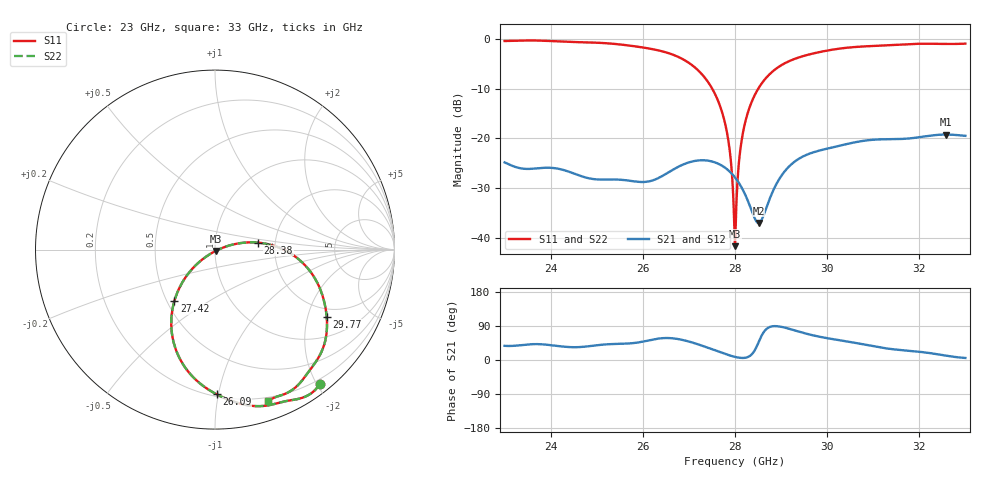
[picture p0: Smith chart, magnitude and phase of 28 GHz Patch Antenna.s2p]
! TOUCHSTONE file generated by CST MICROWAVE STUDIO
! Date and time: Fri Dec 29 02:23:16 2023
! Project name: 28 GHz Patch Antenna.cst
! Parameters = {Lf=0.259; Lg=7; Lp=2.482; Lt=2; hg=0.05; hp=0.05; hs=0.5; wf=1.1184; wt=0.1127}
! Header version: 2018
! Port assignment regex: !\s*Touchstone port\s*([0-9]+)\s*=\s*(CST MWS port|CST DS port)\s*([0-9]+|Zmin|Zmax)\s*\(\"(.*)\"\)(\s*mode\s*([0-9]+))?.*
! Touchstone port assignment:
! Touchstone port 1 = CST MWS port 1 ("")
! Touchstone port 2 = CST MWS port 2 ("")
# GHz S MA R 50
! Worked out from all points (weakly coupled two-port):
!   1001 points, 23 GHz to 33 GHz, reference 50 ohm
!   highest |S21| = -19.24 dB at 32.58 GHz (marker M1); lowest = -37.0 dB at 28.51 GHz (marker M2)
!   lowest |S11| = -41.7 dB at 28 GHz (marker M3), VSWR 1.02, Z = 50.4 - j0.716 ohm
!   |S11| at or under -10 dB: 27.5 GHz to 28.51 GHz (1.001 GHz wide, 3.58 % of centre)
!   |S22| runs from -41.7 to -0.3 dB; largest |S21 - S12| = 2.3e-07
!   S11 on the Smith chart (normalised r, x): 23 GHz: 0.13, -2.04; 26.09 GHz: 0.21, -0.99; 27.42 GHz: 0.55, -0.36; 28.38 GHz: 1.63, +0.13; 29.77 GHz: 1.68, -2.65; 33 GHz: 0.16, -1.40
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23  0.9512 -52.0  0.05729 37.4  0.05729 37.4  0.9512 -52.0
24.67  0.9242 -67.8  0.04158 34.4  0.04158 34.4  0.9242 -67.8
26.09  0.8064 -89.3  0.03663 50.8  0.03663 50.8  0.8064 -89.3
26.34  0.7652 -94.6  0.03993 56.5  0.03993 56.5  0.7653 -94.6
26.97  0.5855 -112.4  0.05674 49.7  0.05674 49.7  0.5857 -112.4
27.42  0.3653 -128.3  0.05959 32.0  0.05959 32.0  0.3655 -128.3
27.64  0.2336 -136.3  0.05548 22.3  0.05548 22.3  0.2338 -136.3
27.8  0.1314 -141.2  0.05004 15.5  0.05004 15.5  0.1316 -141.2
27.89  0.07259 -142.0  0.04609 11.9  0.04609 11.9  0.0728 -142.0
27.96  0.02719 -133.8  0.0426 9.5  0.0426 9.5  0.02739 -134.0
28  0.008242 -59.5  0.04046 8.2  0.04046 8.2  0.008216 -60.9
28.03  0.02192 3.6  0.03879 7.4  0.03879 7.4  0.02172 3.5
28.09  0.06035 15.3  0.0353 6.1  0.0353 6.1  0.06014 15.3
28.15  0.09928 15.9  0.03164 5.4  0.03164 5.4  0.09908 15.9
28.38  0.2434 9.2  0.01781 17.1  0.01781 17.1  0.2432 9.2
28.51  0.3186 4.4  0.01407 46.3  0.01407 46.3  0.3184 4.4
29.06  0.5618 -14.5  0.04544 86.0  0.04544 86.0  0.5616 -14.5
29.67  0.7082 -29.1  0.07159 65.8  0.07159 65.8  0.7081 -29.1
29.77  0.7258 -31.0  0.074 63.0  0.074 63.0  0.7257 -31.0
31.34  0.8642 -54.0  0.09799 29.7  0.09799 29.7  0.8642 -54.0
32.58  0.8886 -67.4  0.1092 11.5  0.1092 11.5  0.8886 -67.4
33  0.895 -70.6  0.1059 5.4  0.1059 5.4  0.895 -70.6
